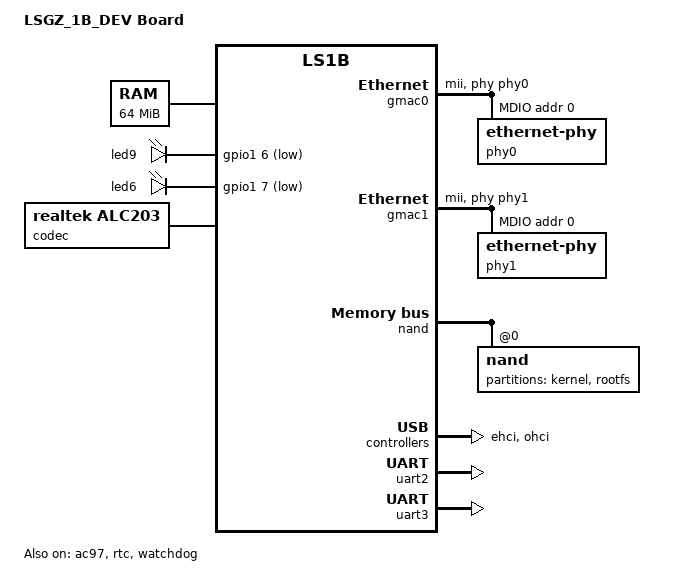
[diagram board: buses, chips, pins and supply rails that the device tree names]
// SPDX-License-Identifier: GPL-2.0
/*
 * Copyright (c) 2023-2025 Keguang Zhang <keguang.zhang@gmail.com>
 */

/dts-v1/;

#include <dt-bindings/gpio/gpio.h>

#include "loongson1b.dtsi"

/ {
	compatible = "loongson,lsgz-1b-dev", "loongson,ls1b";
	model = "LSGZ_1B_DEV Board";

	memory@0 {
		device_type = "memory";
		reg = <0x0 0x4000000>;
	};

	aliases {
		ethernet0 = &gmac0;
		ethernet1 = &gmac1;
		gpio0 = &gpio0;
		gpio1 = &gpio1;
		serial0 = &uart2;
		serial1 = &uart3;
	};

	chosen {
		stdout-path = "serial0:115200n8";
	};

	leds {
		compatible = "gpio-leds";

		led9 {
			label = "led9";
			gpios = <&gpio1 6 GPIO_ACTIVE_LOW>;
			linux,default-trigger = "heartbeat";
		};

		led6 {
			label = "led6";
			gpios = <&gpio1 7 GPIO_ACTIVE_LOW>;
			linux,default-trigger = "nand-disk";
		};
	};

	codec: audio-codec {
		compatible = "realtek,alc203";
		#sound-dai-cells = <0>;
	};

	sound {
		compatible = "simple-audio-card";
		simple-audio-card,name = "ls1b-alc655";
		simple-audio-card,format = "ac97";
		simple-audio-card,widgets =
			"Speaker", "Line Out Jack",
			"Line", "Line In Jack",
			"Microphone", "Microphone Jack";
		simple-audio-card,routing =
			"Line Out Jack", "TX",
			"RX", "Line In Jack",
			"RX", "Microphone Jack";

		simple-audio-card,cpu {
			sound-dai = <&ac97>;
		};

		simple-audio-card,codec {
			sound-dai = <&codec>;
		};
	};
};

&xtal {
	clock-frequency = <33000000>;
};

&gmac0 {
	phy-handle = <&phy0>;
	phy-mode = "mii";
	status = "okay";

	mdio {
		#address-cells = <1>;
		#size-cells = <0>;
		compatible = "snps,dwmac-mdio";

		phy0: ethernet-phy@0 {
			reg = <0x0>;
		};
	};
};

&gmac1 {
	phy-handle = <&phy1>;
	phy-mode = "mii";
	status = "okay";

	mdio {
		compatible = "snps,dwmac-mdio";
		#address-cells = <1>;
		#size-cells = <0>;

		phy1: ethernet-phy@0 {
			reg = <0x0>;
		};
	};
};

&nand {
	status = "okay";

	nand@0 {
		partitions {
			compatible = "fixed-partitions";
			#address-cells = <1>;
			#size-cells = <1>;

			partition@0 {
				label = "kernel";
				reg = <0x0 0x1000000>;
			};

			partition@1000000 {
				label = "rootfs";
				reg = <0x1000000 0x7000000>;
			};
		};
	};
};

&ac97 {
	status = "okay";
};

&ehci {
	status = "okay";
};

&ohci {
	status = "okay";
};

&rtc {
	status = "okay";
};

&uart2 {
	status = "okay";
};

&uart3 {
	status = "okay";
};

&watchdog {
	status = "okay";
};
